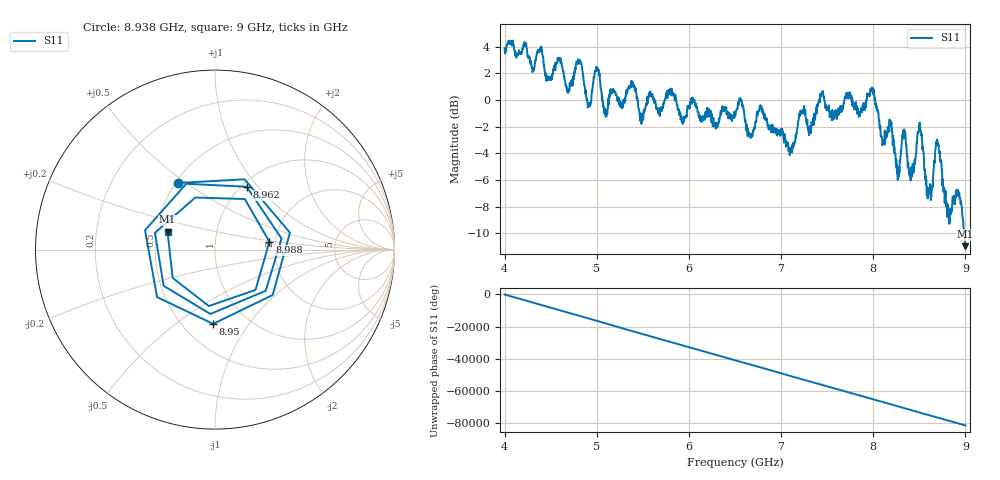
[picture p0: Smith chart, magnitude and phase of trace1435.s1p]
! Created with skrf 1.8.0 (http://scikit-rf.org).
# Hz S RI R 50.0
!freq ReS11 ImS11
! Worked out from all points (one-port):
!   1601 points, 4 GHz to 9 GHz, reference 50 ohm
!   lowest |S11| = -11.0 dB at 9 GHz (marker M1), VSWR 1.79, Z = 28.6 + j6.2 ohm
!   |S11| at or under -10 dB: 8.980492 GHz to 8.982094 GHz (1.602 MHz wide, 0.0178 % of centre); 8.98604 GHz to 8.990457 GHz (4.417 MHz wide, 0.0491 % of centre); 8.994013 GHz to end of sweep
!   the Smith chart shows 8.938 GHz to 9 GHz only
!   S11 on the Smith chart (normalised r, x): 8.938 GHz: 0.51, +0.47; 8.95 GHz: 0.70, -0.69; 8.962 GHz: 1.06, +0.87; 8.988 GHz: 1.86, +0.18; 9 GHz: 0.57, +0.12
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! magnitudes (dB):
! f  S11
! 4 GHz  3.9
! 4.625 GHz  2.5
! 4.912 GHz  -0.3
! 5.25 GHz  -0.1
! 5.875 GHz  -0.4
! 6.5 GHz  -1.2
! 6.566 GHz  -0.1
! 6.669 GHz  -2.8
! 6.784 GHz  -0.6
! 7.125 GHz  -3.6
! 7.225 GHz  -0.8
! 7.75 GHz  0.2
! 7.988 GHz  0.7
! 8.106 GHz  -3.2
! 8.197 GHz  -1.7
! 8.259 GHz  -5.5
! 8.331 GHz  -2.9
! 8.375 GHz  -5.1
! 8.425 GHz  -5.3
! 8.503 GHz  -1.7
! 8.606 GHz  -6.7
! 8.697 GHz  -3.2
! 8.816 GHz  -8.3
! 8.938 GHz  -7.4
! 8.95 GHz  -7.7
! 8.962 GHz  -8.1
! 8.988 GHz  -10.3
! 9 GHz  -11.0
